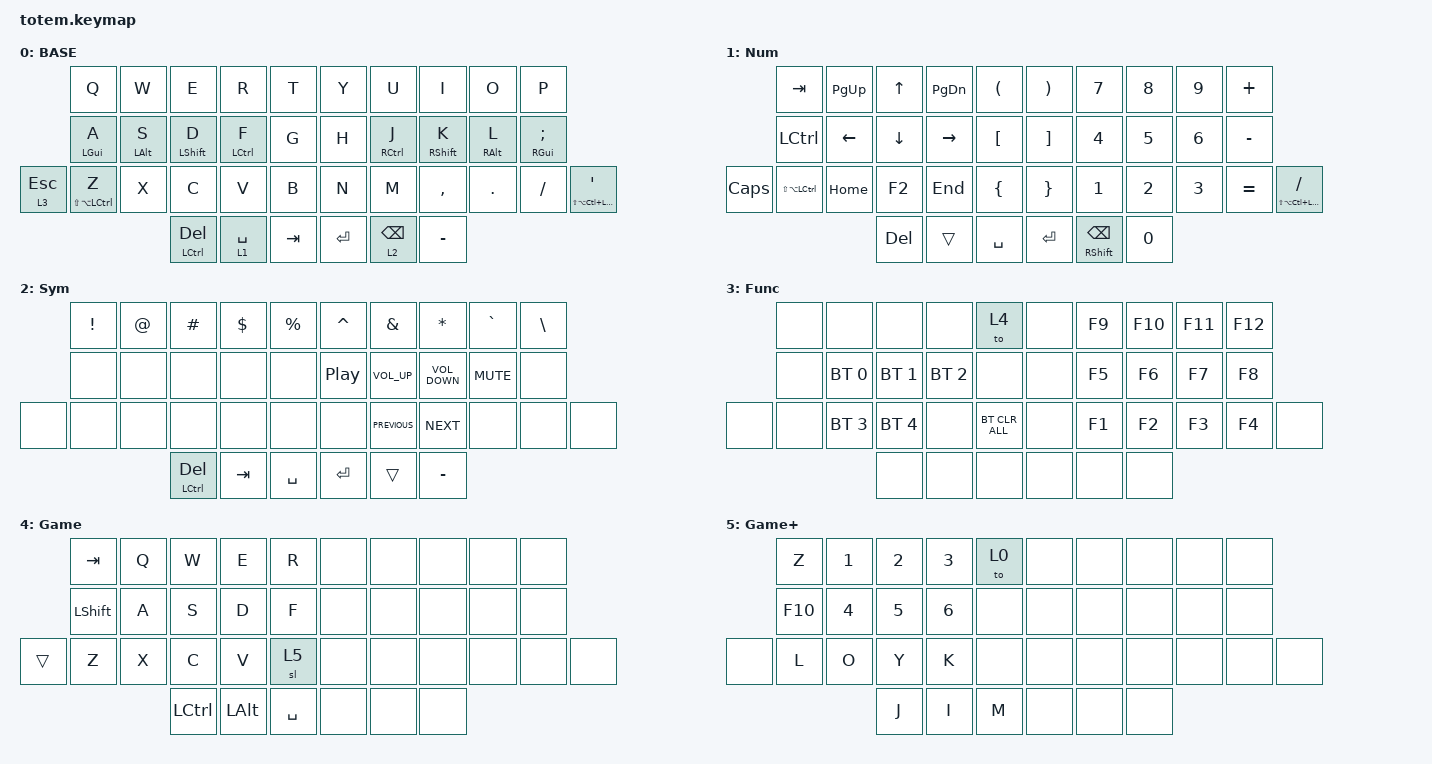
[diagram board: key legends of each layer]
//
//                                                        ▀▀▀▀▀     ▀▀▀▀▀          ▀▀█▀▀
//                                                        ▄▀▀▀▄  ▄  ▄▀▀▀▄  ▄  ▄▀▀▀▄  █  ▄▀▀▀▄
//                                                        █   █  █  █   █  █  █   █  █  █   █
//                                                         ▀▀▀   █   ▀▀▀   █   ▀▀▀   ▀   ▀▀▀
//                                                               █      ▄▄▄█▄▄▄    █   █  
//                                                               ▀      █  █  █     █▄█
//                                                             ▀▀▀▀▀    █  █  █      ▀
//                                                                      ▀  ▀  ▀
//
// ▄▄▄▄▄▄▄▄▄▄▄▄▄▄▄▄▄▄▄▄▄▄▄▄▄▄▄▄▄▄▄▄▄▄▄▄▄▄▄▄▄▄▄▄▄▄▄▄▄▄▄▄▄▄▄▄▄▄▄▄▄▄▄▄▄▄▄▄▄▄▄▄▄▄▄▄▄▄▄▄▄▄▄▄▄▄▄▄▄▄▄▄▄▄▄▄▄▄▄▄▄▄▄▄▄▄▄▄▄▄▄▄▄▄▄▄▄▄▄▄▄▄▄▄▄▄▄▄▄▄▄▄▄▄▄▄▄▄▄▄▄▄▄▄▄▄▄▄▄

#include <behaviors.dtsi>
#include <dt-bindings/zmk/bt.h>
#include <dt-bindings/zmk/keys.h>

#define BASE 0
#define NAV  1
#define SYM  2
#define ADJ  3
#define TVP1 4
#define TVP2 5

&mt {
    quick-tap-ms = <100>;
    flavor = "tap-preferred";
    tapping-term-ms = <170>;
};

/ {
    combos { compatible = "zmk,combos"; };

    macros {
        gif: gif {
            label = "giphy";
            compatible = "zmk,behavior-macro";
            #binding-cells = <0>;
            bindings =
                <&macro_press>,
                <&kp LSHFT>,
                <&macro_tap>,
                <&kp N2>,
                <&macro_release>,
                <&kp LSHFT>,
                <&macro_tap>,
                <&kp G &kp I &kp F>;
        };
    };

    keymap {
        compatible = "zmk,keymap";

        // ▄▄▄▄▄▄▄▄▄▄▄▄▄▄▄▄▄▄▄▄▄▄▄▄▄▄▄▄▄▄▄▄▄▄▄▄▄▄▄▄▄▄▄▄▄▄▄▄▄▄▄▄▄▄▄▄▄▄▄▄▄▄▄▄▄▄▄▄▄▄▄▄▄▄▄▄▄▄▄▄▄▄▄▄▄▄▄▄▄▄▄▄▄▄▄▄▄▄▄▄▄▄▄▄▄▄▄▄▄▄▄▄▄▄▄▄▄▄▄▄▄▄▄▄▄▄▄▄▄▄▄▄▄▄▄▄▄▄▄▄▄▄▄▄▄▄▄▄▄

        base_layer {
            // ┏━━━━━━━━━━━━━━━━━━━━━━━━━━━━━━━━━━━━━━━┓

            label = "BASE";

            // ┗━━━━━━━━━━━━━━━━━━━━━━━━━━━━━━━━━━━━━━━┛
            //             ┏━━━━━━━━━━━┳━━━━━━━━━━━┳━━━━━━━━━━━┳━━━━━━━━━━━┳━━━━━━━━━━━┓   ┏━━━━━━━━━━━┳━━━━━━━━━━━┳━━━━━━━━━━━┳━━━━━━━━━━━┳━━━━━━━━━━━┓
            //             ┃     Q     ┃     W     ┃     F     ┃     P     ┃     G     ┃   ┃     J     ┃     L     ┃     U     ┃     Y     ┃     ;     ┃
            //             ┣━━━━━━━━━━━╋━━━━━━━━━━━╋━━━━━━━━━━━╋━━━━━━━━━━━╋━━━━━━━━━━━┫   ┣━━━━━━━━━━━╋━━━━━━━━━━━╋━━━━━━━━━━━╋━━━━━━━━━━━╋━━━━━━━━━━━┫
            //             ┃     A     ┃     R     ┃     S     ┃     T     ┃     D     ┃   ┃     H     ┃     N     ┃     E     ┃     I     ┃     O     ┃
            // ┏━━━━━━━━━━━╋━━━━━━━━━━━╋━━━━━━━━━━━╋━━━━━━━━━━━╋━━━━━━━━━━━╋━━━━━━━━━━━┫   ┣━━━━━━━━━━━╋━━━━━━━━━━━╋━━━━━━━━━━━╋━━━━━━━━━━━╋━━━━━━━━━━━╋━━━━━━━━━━━┓
            // ┃     Q     ┃     Z     ┃     X     ┃     C     ┃     V     ┃     B     ┃   ┃     K     ┃     M     ┃     ,     ┃     .     ┃     /     ┃     \     ┃
            // ┗━━━━━━━━━━━┻━━━━━━━━━━━┻━━━━━━━━━━━╋━━━━━━━━━━━╋━━━━━━━━━━━╋━━━━━━━━━━━┫   ┣━━━━━━━━━━━╋━━━━━━━━━━━╋━━━━━━━━━━━╋━━━━━━━━━━━┻━━━━━━━━━━━┻━━━━━━━━━━━┛
            //                                     ┃    DEL    ┃    TAB    ┃    SPC    ┃   ┃   ENTER   ┃           ┃   BSPC    ┃
            //                                     ┗━━━━━━━━━━━┻━━━━━━━━━━━┻━━━━━━━━━━━┛   ┗━━━━━━━━━━━┻━━━━━━━━━━━┻━━━━━━━━━━━┛

            bindings = <
              &kp Q                &kp W       &kp E             &kp R        &kp T      &kp Y    &kp U            &kp I              &kp O       &kp P
              &mt LEFT_GUI A       &mt LALT S  &mt LEFT_SHIFT D  &mt LCTRL F  &kp G      &kp H    &mt RCTRL J      &mt RIGHT_SHIFT K  &mt RALT L  &mt RGUI SEMI
&lt 3 ESCAPE  &mt LS(LA(LCTRL)) Z  &kp X       &kp C             &kp V        &kp B      &kp N    &kp M            &kp COMMA          &kp DOT     &kp FSLH       &mt LS(LA(LC(LGUI))) SQT
                                               &mt LCTRL DEL     &lt 1 SPACE  &kp TAB    &kp RET  &lt 2 BACKSPACE  &kp MINUS
            >;
        };

        // ▄▄▄▄▄▄▄▄▄▄▄▄▄▄▄▄▄▄▄▄▄▄▄▄▄▄▄▄▄▄▄▄▄▄▄▄▄▄▄▄▄▄▄▄▄▄▄▄▄▄▄▄▄▄▄▄▄▄▄▄▄▄▄▄▄▄▄▄▄▄▄▄▄▄▄▄▄▄▄▄▄▄▄▄▄▄▄▄▄▄▄▄▄▄▄▄▄▄▄▄▄▄▄▄▄▄▄▄▄▄▄▄▄▄▄▄▄▄▄▄▄▄▄▄▄▄▄▄▄▄▄▄▄▄▄▄▄▄▄▄▄▄▄▄▄▄▄▄▄
        // ▄▄▄▄▄▄▄▄▄▄▄▄▄▄▄▄▄▄▄▄▄▄▄▄▄▄▄▄▄▄▄▄▄▄▄▄▄▄▄▄▄▄▄▄▄▄▄▄▄▄▄▄▄▄▄▄▄▄▄▄▄▄▄▄▄▄▄▄▄▄▄▄▄▄▄▄▄▄▄▄▄▄▄▄▄▄▄▄▄▄▄▄▄▄▄▄▄▄▄▄▄▄▄▄▄▄▄▄▄▄▄▄▄▄▄▄▄▄▄▄▄▄▄▄▄▄▄▄▄▄▄▄▄▄▄▄▄▄▄▄▄▄▄▄▄▄▄▄▄
        // ▄▄▄▄▄▄▄▄▄▄▄▄▄▄▄▄▄▄▄▄▄▄▄▄▄▄▄▄▄▄▄▄▄▄▄▄▄▄▄▄▄▄▄▄▄▄▄▄▄▄▄▄▄▄▄▄▄▄▄▄▄▄▄▄▄▄▄▄▄▄▄▄▄▄▄▄▄▄▄▄▄▄▄▄▄▄▄▄▄▄▄▄▄▄▄▄▄▄▄▄▄▄▄▄▄▄▄▄▄▄▄▄▄▄▄▄▄▄▄▄▄▄▄▄▄▄▄▄▄▄▄▄▄▄▄▄▄▄▄▄▄▄▄▄▄▄▄▄▄
        // ▄▄▄▄▄▄▄▄▄▄▄▄▄▄▄▄▄▄▄▄▄▄▄▄▄▄▄▄▄▄▄▄▄▄▄▄▄▄▄▄▄▄▄▄▄▄▄▄▄▄▄▄▄▄▄▄▄▄▄▄▄▄▄▄▄▄▄▄▄▄▄▄▄▄▄▄▄▄▄▄▄▄▄▄▄▄▄▄▄▄▄▄▄▄▄▄▄▄▄▄▄▄▄▄▄▄▄▄▄▄▄▄▄▄▄▄▄▄▄▄▄▄▄▄▄▄▄▄▄▄▄▄▄▄▄▄▄▄▄▄▄▄▄▄▄▄▄▄▄
        // ▄▄▄▄▄▄▄▄▄▄▄▄▄▄▄▄▄▄▄▄▄▄▄▄▄▄▄▄▄▄▄▄▄▄▄▄▄▄▄▄▄▄▄▄▄▄▄▄▄▄▄▄▄▄▄▄▄▄▄▄▄▄▄▄▄▄▄▄▄▄▄▄▄▄▄▄▄▄▄▄▄▄▄▄▄▄▄▄▄▄▄▄▄▄▄▄▄▄▄▄▄▄▄▄▄▄▄▄▄▄▄▄▄▄▄▄▄▄▄▄▄▄▄▄▄▄▄▄▄▄▄▄▄▄▄▄▄▄▄▄▄▄▄▄▄▄▄▄▄

        Num {
            bindings = <
              &kp TAB            &kp PAGE_UP     &kp UP_ARROW  &kp PAGE_DOWN  &kp LEFT_PARENTHESIS    &kp RIGHT_PARENTHESIS  &kp N7                     &kp N8  &kp N9  &kp PLUS
              &kp LCTRL          &kp LEFT_ARROW  &kp DOWN      &kp RIGHT      &kp LEFT_BRACKET        &kp RIGHT_BRACKET      &kp N4                     &kp N5  &kp N6  &kp MINUS
&kp CAPSLOCK  &kp LS(LA(LCTRL))  &kp HOME        &kp F2        &kp END        &kp LEFT_BRACE          &kp RIGHT_BRACE        &kp N1                     &kp N2  &kp N3  &kp EQUAL  &mt LS(LA(LC(LGUI))) SLASH
                                                 &kp DELETE    &trans         &kp SPACE               &kp RET                &mt RIGHT_SHIFT BACKSPACE  &kp N0
            >;
        };

        Sym {
            bindings = <
       &kp EXCLAMATION  &kp AT_SIGN  &kp HASH          &kp DOLLAR  &kp PERCENT    &kp CARET         &kp AMPERSAND    &kp ASTERISK       &kp GRAVE   &kp BACKSLASH
       &none            &none        &none             &none       &none          &kp C_PLAY_PAUSE  &kp C_VOLUME_UP  &kp C_VOLUME_DOWN  &kp C_MUTE  &none
&none  &none            &none        &none             &none       &none          &none             &kp C_PREVIOUS   &kp C_NEXT         &none       &none          &none
                                     &mt LCTRL DELETE  &kp TAB     &kp SPACE      &kp ENTER         &trans           &kp MINUS
            >;
        };

        Func {
            bindings = <
       &none  &none         &none         &none         &to 4             &none  &kp F9  &kp F10  &kp F11  &kp F12
       &none  &bt BT_SEL 0  &bt BT_SEL 1  &bt BT_SEL 2  &none             &none  &kp F5  &kp F6   &kp F7   &kp F8
&none  &none  &bt BT_SEL 3  &bt BT_SEL 4  &none         &bt BT_CLR_ALL    &none  &kp F1  &kp F2   &kp F3   &kp F4   &none
                            &none         &none         &none             &none  &none   &none
            >;
        };

        Game {
            bindings = <
        &kp TAB    &kp Q  &kp W      &kp E         &kp R        &none  &none  &none  &none  &none
        &kp LSHFT  &kp A  &kp S      &kp D         &kp F        &none  &none  &none  &none  &none
&trans  &kp Z      &kp X  &kp C      &kp V         &sl 5        &none  &none  &none  &none  &none  &none
                          &kp LCTRL  &kp LEFT_ALT  &kp SPACE    &none  &none  &none
            >;
        };

        Game+ {
            bindings = <
       &kp Z    &kp N1  &kp N2  &kp N3  &to 0    &none  &none  &none  &none  &none
       &kp F10  &kp N4  &kp N5  &kp N6  &none    &none  &none  &none  &none  &none
&none  &kp L    &kp O   &kp Y   &kp K   &none    &none  &none  &none  &none  &none  &none
                        &kp J   &kp I   &kp M    &none  &none  &none
            >;
        };
    };
};
